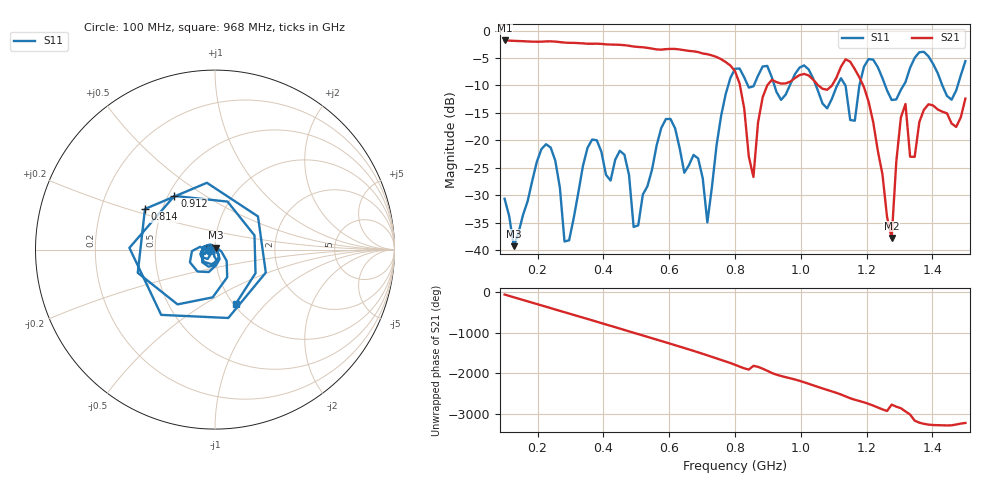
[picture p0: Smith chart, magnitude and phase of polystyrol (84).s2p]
! NanoVNA-App
! Date: 2025-09-26 09:42:32
! Start: 100MHz Stop: 1,5GHz Points: 101
! S-Parameter data: F S11 S21 S12 S22
# Hz S RI R 50
!  Frequency  S11_Real  S11_Imag  S21_Real  S21_Imag  S12_Real  S12_Imag  S22_Real  S22_Imag
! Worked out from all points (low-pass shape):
!   101 points, 100 MHz to 1.5 GHz, reference 50 ohm
!   highest |S21| = -1.79 dB at 100 MHz (marker M1); lowest = -37.8 dB at 1.276 GHz (marker M2)
!   |S21| within 3 dB of the highest: start of sweep to 743.4 MHz
!   lowest |S11| = -39.3 dB at 128 MHz (marker M3), VSWR 1.02, Z = 50.3 + j1.05 ohm
!   |S11| at or under -10 dB: start of sweep to 779.3 MHz; 1.046 GHz to 1.111 GHz (64.84 MHz wide, 6.01 % of centre); 1.256 GHz to 1.312 GHz (55.45 MHz wide, 4.32 % of centre)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
!   S12 and S22 are empty: the file has one direction only
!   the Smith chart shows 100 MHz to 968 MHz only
!   S11 on the Smith chart (normalised r, x): 100 MHz: 0.94, -0.01; 814 MHz: 0.40, +0.23; 912 MHz: 0.54, +0.38; 968 MHz: 1.02, -0.69
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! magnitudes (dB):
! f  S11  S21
! 100 MHz  -30.7  -1.8
! 128 MHz  -39.3  -1.9
! 212 MHz  -21.6  -2.0
! 254 MHz  -23.7  -2.0
! 282 MHz  -38.5  -2.2
! 338 MHz  -24.7  -2.3
! 464 MHz  -22.6  -2.7
! 506 MHz  -35.5  -3.0
! 576 MHz  -17.7  -3.5
! 688 MHz  -23.3  -3.9
! 716 MHz  -35.0  -4.3
! 800 MHz  -6.9  -7.4
! 814 MHz  -6.9  -9.7
! 856 MHz  -10.2  -26.7
! 912 MHz  -8.5  -9.0
! 968 MHz  -9.8  -9.3
! 1.038 GHz  -8.8  -9.0
! 1.178 GHz  -9.9  -8.5
! 1.276 GHz  -12.7  -37.8
! 1.318 GHz  -9.4  -13.4
! 1.346 GHz  -5.0  -23.0
! 1.5 GHz  -5.6  -12.4
